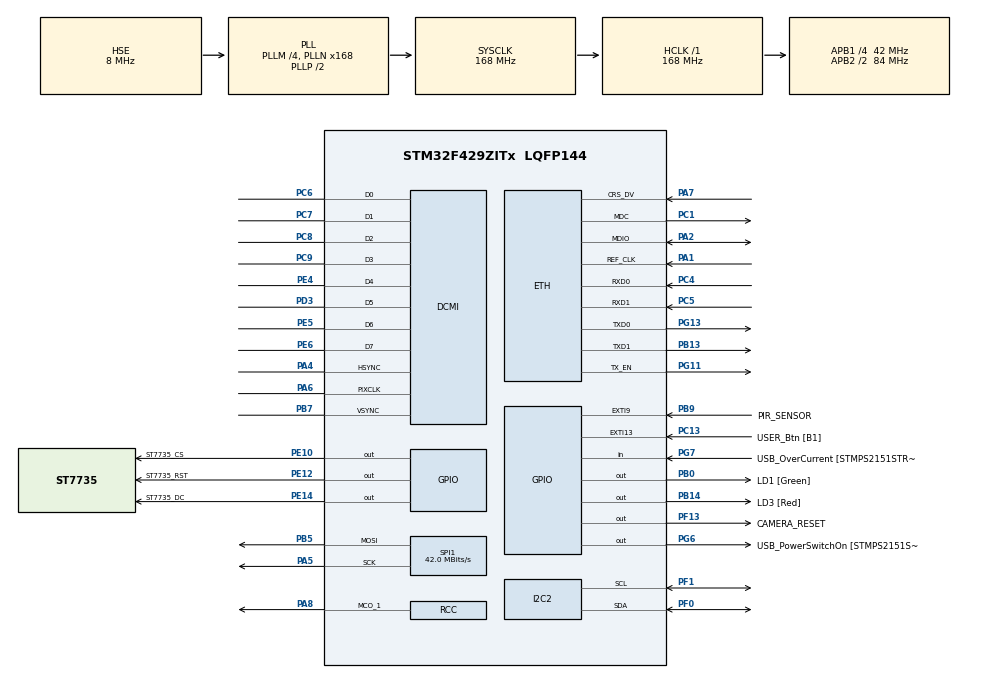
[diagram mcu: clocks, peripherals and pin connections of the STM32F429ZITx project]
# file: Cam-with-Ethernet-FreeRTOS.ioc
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DCMI.JPEGMode=DCMI_JPEG_DISABLE
DCMI.PCKPolarity=DCMI_PCKPOLARITY_RISING
DCMI.VSPolarity=DCMI_VSPOLARITY_HIGH
Dma.DCMI.0.Direction=DMA_PERIPH_TO_MEMORY
Dma.DCMI.0.FIFOMode=DMA_FIFOMODE_DISABLE
Dma.DCMI.0.Instance=DMA2_Stream1
Dma.DCMI.0.MemDataAlignment=DMA_MDATAALIGN_WORD
Dma.DCMI.0.MemInc=DMA_MINC_ENABLE
Dma.DCMI.0.Mode=DMA_NORMAL
Dma.DCMI.0.PeriphDataAlignment=DMA_PDATAALIGN_WORD
Dma.DCMI.0.PeriphInc=DMA_PINC_DISABLE
Dma.DCMI.0.Priority=DMA_PRIORITY_LOW
Dma.Request0=DCMI
ETH.MediaInterface=ETH_MEDIA_INTERFACE_RMII
ETH.PhyAddress=0
FREERTOS.BinarySemaphores01=bCameraSemaphore,Static,bCameraSemaphoreControlBlock;bEthSemaphore,Static,bEthSemaphoreControlBlock;bDisplaySemaphore,Static,bDisplaySemaphoreControlBlock
FREERTOS.MEMORY_ALLOCATION=2
FREERTOS.Tasks01=defaultTask,0,512,StartDefaultTask,Default,NULL,Static,defaultTaskBuffer,defaultTaskControlBlock;camTask,-2,512,StartCamTask,Default,NULL,Static,camTaskBuffer,camTaskControlBlock;displayTask,-2,512,StartDisplayTask,Default,NULL,Static,displayTaskBuffer,displayTaskControlBlock
FREERTOS.configMINIMAL_STACK_SIZE=512
FREERTOS.configTOTAL_HEAP_SIZE=60000
LWIP.GATEWAY_ADDRESS=192.168.000.001
LWIP.IP_ADDRESS=192.168.000.191
LWIP.LWIP_DHCP=0
LWIP.NETMASK_ADDRESS=255.255.255.000
LWIP.Version=v2.1.2_Cube
Mcu.Family=STM32F4
Mcu.Name=STM32F429ZITx
Mcu.Package=LQFP144
NVIC.DCMI_IRQn=true\:15\:0\:true\:false\:true\:false\:true\:true
NVIC.DMA2_Stream1_IRQn=true\:15\:0\:true\:false\:true\:false\:false\:true
NVIC.ETH_IRQn=true\:15\:0\:true\:false\:true\:false\:false\:true
NVIC.EXTI15_10_IRQn=true\:15\:0\:true\:false\:true\:false\:true\:true
NVIC.EXTI9_5_IRQn=true\:15\:0\:true\:false\:true\:false\:true\:true
NVIC.PriorityGroup=NVIC_PRIORITYGROUP_4
NVIC.TIM6_DAC_IRQn=true\:0\:0\:false\:false\:true\:false\:false\:true
NVIC.TimeBase=TIM6_DAC_IRQn
NVIC.TimeBaseIP=TIM6
PA0/WKUP.Mode=SYS_WakeUp0
PA0/WKUP.Signal=SYS_WKUP
PA1.Mode=RMII
PA1.Signal=ETH_REF_CLK
PA13.Mode=Serial_Wire
PA13.Signal=SYS_JTMS-SWDIO
PA14.Mode=Serial_Wire
PA14.Signal=SYS_JTCK-SWCLK
PA2.Mode=RMII
PA2.Signal=ETH_MDIO
PA4.GPIO_PuPd=GPIO_PULLDOWN
PA4.GPIO_Speed=GPIO_SPEED_FREQ_VERY_HIGH
PA4.Mode=Slave_8_bits_External_Synchro
PA4.Signal=DCMI_HSYNC
PA5.Mode=TX_Only_Simplex_Unidirect_Master
PA5.Signal=SPI1_SCK
PA6.GPIO_PuPd=GPIO_PULLDOWN
PA6.GPIO_Speed=GPIO_SPEED_FREQ_VERY_HIGH
PA6.Mode=Slave_8_bits_External_Synchro
PA6.Signal=DCMI_PIXCLK
PA7.Mode=RMII
PA7.Signal=ETH_CRS_DV
PA8.GPIO_Speed=GPIO_SPEED_FREQ_VERY_HIGH
PA8.Mode=Clock-out-1
PA8.Signal=RCC_MCO_1
PB0.GPIO_Label=LD1 [Green]
PB0.Signal=GPIO_Output
PB13.Mode=RMII
PB13.Signal=ETH_TXD1
PB14.GPIO_Label=LD3 [Red]
PB14.Signal=GPIO_Output
PB5.Mode=TX_Only_Simplex_Unidirect_Master
PB5.Signal=SPI1_MOSI
PB7.GPIO_PuPd=GPIO_PULLDOWN
PB7.GPIO_Speed=GPIO_SPEED_FREQ_VERY_HIGH
PB7.Mode=Slave_8_bits_External_Synchro
PB7.Signal=DCMI_VSYNC
PB9.GPIO_Label=PIR_SENSOR
PB9.Signal=GPXTI9
PC1.Mode=RMII
PC1.Signal=ETH_MDC
PC13.GPIO_Label=USER_Btn [B1]
PC13.Signal=GPXTI13
PC14/OSC32_IN.Mode=LSE-External-Clock-Source
PC14/OSC32_IN.Signal=RCC_OSC32_IN
PC15/OSC32_OUT.Mode=LSE-External-Clock-Source
PC15/OSC32_OUT.Signal=RCC_OSC32_OUT
PC4.Mode=RMII
PC4.Signal=ETH_RXD0
PC5.Mode=RMII
PC5.Signal=ETH_RXD1
PC6.GPIO_PuPd=GPIO_PULLDOWN
PC6.GPIO_Speed=GPIO_SPEED_FREQ_VERY_HIGH
PC6.Mode=Slave_8_bits_External_Synchro
PC6.Signal=DCMI_D0
PC7.GPIO_PuPd=GPIO_PULLDOWN
PC7.GPIO_Speed=GPIO_SPEED_FREQ_VERY_HIGH
PC7.Mode=Slave_8_bits_External_Synchro
PC7.Signal=DCMI_D1
PC8.GPIO_PuPd=GPIO_PULLDOWN
PC8.GPIO_Speed=GPIO_SPEED_FREQ_VERY_HIGH
PC8.Mode=Slave_8_bits_External_Synchro
PC8.Signal=DCMI_D2
PC9.GPIO_PuPd=GPIO_PULLDOWN
PC9.GPIO_Speed=GPIO_SPEED_FREQ_VERY_HIGH
PC9.Mode=Slave_8_bits_External_Synchro
PC9.Signal=DCMI_D3
PD3.GPIO_PuPd=GPIO_PULLDOWN
PD3.GPIO_Speed=GPIO_SPEED_FREQ_VERY_HIGH
PD3.Mode=Slave_8_bits_External_Synchro
PD3.Signal=DCMI_D5
PD8.Signal=USART3_TX
PD9.Signal=USART3_RX
PE10.GPIO_Label=ST7735_CS
PE10.Signal=GPIO_Output
PE12.GPIO_Label=ST7735_RST
PE12.Signal=GPIO_Output
PE14.GPIO_Label=ST7735_DC
PE14.Signal=GPIO_Output
PE4.GPIO_PuPd=GPIO_PULLDOWN
PE4.GPIO_Speed=GPIO_SPEED_FREQ_VERY_HIGH
PE4.Mode=Slave_8_bits_External_Synchro
PE4.Signal=DCMI_D4
PE5.GPIO_PuPd=GPIO_PULLDOWN
PE5.GPIO_Speed=GPIO_SPEED_FREQ_VERY_HIGH
PE5.Mode=Slave_8_bits_External_Synchro
PE5.Signal=DCMI_D6
PE6.GPIO_PuPd=GPIO_PULLDOWN
PE6.GPIO_Speed=GPIO_SPEED_FREQ_VERY_HIGH
PE6.Mode=Slave_8_bits_External_Synchro
PE6.Signal=DCMI_D7
PF0.Mode=I2C
PF0.Signal=I2C2_SDA
PF1.Mode=I2C
PF1.Signal=I2C2_SCL
PF13.GPIO_Label=CAMERA_RESET
PF13.Signal=GPIO_Output
PG11.Mode=RMII
PG11.Signal=ETH_TX_EN
PG13.Mode=RMII
PG13.Signal=ETH_TXD0
PG6.GPIO_Label=USB_PowerSwitchOn [STMPS2151STR_EN]
PG6.Signal=GPIO_Output
PG7.GPIO_Label=USB_OverCurrent [STMPS2151STR_FAULT]
PG7.Signal=GPIO_Input
PH0/OSC_IN.GPIO_Label=MCO [STM32F103CBT6_PA8]
PH0/OSC_IN.Mode=HSE-External-Oscillator
PH0/OSC_IN.Signal=RCC_OSC_IN
PH1/OSC_OUT.Mode=HSE-External-Oscillator
PH1/OSC_OUT.Signal=RCC_OSC_OUT
ProjectManager.HeapSize=0x2000
ProjectManager.StackSize=0x2000
ProjectManager.TargetToolchain=STM32CubeIDE
RCC.48MHZClocksFreq_Value=84000000
RCC.AHBFreq_Value=168000000
RCC.APB1CLKDivider=RCC_HCLK_DIV4
RCC.APB1Freq_Value=42000000
RCC.APB1TimFreq_Value=84000000
RCC.APB2CLKDivider=RCC_HCLK_DIV2
RCC.APB2Freq_Value=84000000
RCC.APB2TimFreq_Value=168000000
RCC.CortexFreq_Value=168000000
RCC.HCLKFreq_Value=168000000
RCC.HSE_VALUE=8000000
RCC.HSI_VALUE=16000000
RCC.LSE_VALUE=32768
RCC.PLLM=4
RCC.PLLMUL=RCC_PLL_MUL9
RCC.PLLN=168
RCC.PLLSourceVirtual=RCC_PLLSOURCE_HSE
RCC.PRESCALERUSB=RCC_USBCLKSOURCE_PLL_DIV1_5
RCC.SYSCLKFreq_VALUE=168000000
RCC.SYSCLKSource=RCC_SYSCLKSOURCE_PLLCLK
RCC.SYSCLKSourceVirtual=RCC_SYSCLKSOURCE_PLLCLK
RCC.USBFreq_Value=48000000
RCC.VCOOutputFreq_Value=336000000
SPI1.CalculateBaudRate=42.0 MBits/s
SPI1.Direction=SPI_DIRECTION_2LINES
SPI1.Mode=SPI_MODE_MASTER
SPI1.VirtualType=VM_MASTER
VP_FREERTOS_VS_CMSIS_V1.Mode=CMSIS_V1
VP_LWIP_VS_Enabled.Mode=Enabled
VP_SYS_VS_tim6.Mode=TIM6
board=NUCLEO-F429ZI

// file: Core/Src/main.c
/* USER CODE BEGIN Header */
/**
  ******************************************************************************
  * @file           : main.c
  * @brief          : Main program body
  ******************************************************************************
  * @attention
  *
  * <h2><center>&copy; Copyright (c) 2020 STMicroelectronics.
  * All rights reserved.</center></h2>
  *
  * This software component is licensed by ST under Ultimate Liberty license
  * SLA0044, the "License"; You may not use this file except in compliance with
  * the License. You may obtain a copy of the License at:
  *                             www.st.com/SLA0044
  *
  ******************************************************************************
  */
/* USER CODE END Header */
#include "main.h"
#include "cmsis_os.h"
#include "dcmi.h"
#include "dma.h"
#include "i2c.h"
#include "lwip.h"
#include "spi.h"
#include "gpio.h"

/* USER CODE BEGIN Includes */
#include "camera.h"
#include "ST7735.h"
#include "stdio.h"
/* USER CODE END Includes */

/* USER CODE BEGIN PD */
/*
#define PICTURE_SIZE CAM_VGA_WIDTH * CAM_VGA_HEIGHT * 2
We send PICTURE_DIVIDER pieces of picture in order to minimize buffer size
 Every piece is a cropped original picture
#define PICTURE_DIVIDER 10
#define BUFFER_SIZE  PICTURE_SIZE/PICTURE_DIVIDER
*/
/* USER CODE END PD */

/* USER CODE BEGIN PV */
//extern uint8_t CAM_Frame_Buffer[BUFFER_SIZE];

/* USER CODE END PV */

void SystemClock_Config(void);
void MX_FREERTOS_Init(void);

/* USER CODE BEGIN 0 */
int _write(int file, char *ptr, int len)
{
   //Implement your write code here, this is used by puts and printf for example
  int i=0;
  for(i=0 ; i<len ; i++)
    ITM_SendChar((*ptr++));
  return len;
}
/* USER CODE END 0 */

int main(void)
{

  /* MCU Configuration--------------------------------------------------------*/

  /* Reset of all peripherals, Initializes the Flash interface and the Systick. */
  HAL_Init();

  /* Configure the system clock */
  SystemClock_Config();

  /* Initialize all configured peripherals */
  MX_GPIO_Init();
  MX_DMA_Init();
  MX_DCMI_Init();
  MX_I2C2_Init();
  MX_SPI1_Init();
  /* USER CODE BEGIN 2 */
  HAL_NVIC_DisableIRQ(PIR_SENSOR_EXTI_IRQn);
  ST7735_Init();
  camera_init();
  camera_config(CAMERA_MODE_QVGA_RGB565);
  ST7735_FillScreen(ST7735_CYAN);

/*  for (uint32_t i = 0; i < BUFFER_SIZE; i++)
  {
	  CAM_Frame_Buffer[i] = i % 255;
  }*/
  /* USER CODE END 2 */

  /* Call init function for freertos objects (in freertos.c) */
  MX_FREERTOS_Init();
  /* Start scheduler */
  osKernelStart();

  /* We should never get here as control is now taken by the scheduler */
  /* Infinite loop */
  /* USER CODE BEGIN WHILE */
//  uint16_t crop_start_line = 0;
  while (1)
  {
/*	  for (uint8_t i = 0; i < PICTURE_DIVIDER; i++)
	  		{

	  			crop_start_line = i * CAM_VGA_HEIGHT / PICTURE_DIVIDER;
//	  			camera_startCap(CAMERA_CAP_SINGLE_FRAME, (void*) CAM_Frame_Buffer);
	  			camera_startCapCropped(CAMERA_CAP_SINGLE_FRAME,
	  					(void*) CAM_Frame_Buffer, crop_start_line,
	  					CAM_VGA_HEIGHT / PICTURE_DIVIDER);
	  			HAL_Delay(100);
	  		}
	  		camera_stopCap();*/
    /* USER CODE END WHILE */

  }
}

void SystemClock_Config(void)
{
  RCC_OscInitTypeDef RCC_OscInitStruct = {0};
  RCC_ClkInitTypeDef RCC_ClkInitStruct = {0};

  /** Configure the main internal regulator output voltage
  */
  __HAL_RCC_PWR_CLK_ENABLE();
  __HAL_PWR_VOLTAGESCALING_CONFIG(PWR_REGULATOR_VOLTAGE_SCALE1);
  /** Initializes the RCC Oscillators according to the specified parameters
  * in the RCC_OscInitTypeDef structure.
  */
  RCC_OscInitStruct.OscillatorType = RCC_OSCILLATORTYPE_HSI|RCC_OSCILLATORTYPE_HSE;
  RCC_OscInitStruct.HSEState = RCC_HSE_ON;
  RCC_OscInitStruct.HSIState = RCC_HSI_ON;
  RCC_OscInitStruct.HSICalibrationValue = RCC_HSICALIBRATION_DEFAULT;
  RCC_OscInitStruct.PLL.PLLState = RCC_PLL_ON;
  RCC_OscInitStruct.PLL.PLLSource = RCC_PLLSOURCE_HSE;
  RCC_OscInitStruct.PLL.PLLM = 4;
  RCC_OscInitStruct.PLL.PLLN = 168;
  RCC_OscInitStruct.PLL.PLLP = RCC_PLLP_DIV2;
  RCC_OscInitStruct.PLL.PLLQ = 4;
  if (HAL_RCC_OscConfig(&RCC_OscInitStruct) != HAL_OK)
  {
    Error_Handler();
  }
  /** Initializes the CPU, AHB and APB buses clocks
  */
  RCC_ClkInitStruct.ClockType = RCC_CLOCKTYPE_HCLK|RCC_CLOCKTYPE_SYSCLK
                              |RCC_CLOCKTYPE_PCLK1|RCC_CLOCKTYPE_PCLK2;
  RCC_ClkInitStruct.SYSCLKSource = RCC_SYSCLKSOURCE_PLLCLK;
  RCC_ClkInitStruct.AHBCLKDivider = RCC_SYSCLK_DIV1;
  RCC_ClkInitStruct.APB1CLKDivider = RCC_HCLK_DIV4;
  RCC_ClkInitStruct.APB2CLKDivider = RCC_HCLK_DIV2;

  if (HAL_RCC_ClockConfig(&RCC_ClkInitStruct, FLASH_LATENCY_5) != HAL_OK)
  {
    Error_Handler();
  }
  HAL_RCC_MCOConfig(RCC_MCO1, RCC_MCO1SOURCE_HSI, RCC_MCODIV_1);
}

void HAL_TIM_PeriodElapsedCallback(TIM_HandleTypeDef *htim)
{
  if (htim->Instance == TIM6) {
    HAL_IncTick();
  }
}

void Error_Handler(void)
{
}

/************************ (C) COPYRIGHT STMicroelectronics *****END OF FILE****/

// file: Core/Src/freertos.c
/* USER CODE BEGIN Header */
/**
 ******************************************************************************
 * File Name          : freertos.c
 * Description        : Code for freertos applications
 ******************************************************************************
 * @attention
 *
 * <h2><center>&copy; Copyright (c) 2020 STMicroelectronics.
 * All rights reserved.</center></h2>
 *
 * This software component is licensed by ST under Ultimate Liberty license
 * SLA0044, the "License"; You may not use this file except in compliance with
 * the License. You may obtain a copy of the License at:
 *                             www.st.com/SLA0044
 *
 ******************************************************************************
 */
/* USER CODE END Header */

#include "FreeRTOS.h"
#include "task.h"
#include "main.h"
#include "cmsis_os.h"

/* USER CODE BEGIN Includes */
#include "semphr.h"
#include "camera.h"
#include "st7735.h"
#include "stdio.h"
#include "lwip/opt.h"
#include "lwip/arch.h"
#include "lwip/api.h"
/* USER CODE END Includes */

/* USER CODE BEGIN PD */
#define WAITING_FOR_CONNECTION  0x00
#define WAITING_FOR_MOVEMENT 	0x01
#define PICTURE_IS_BEING_SENT 	0x02
#define PICTURE_IS_SENT 		0x03
#define CONNECTION_IS_DONE      0x04

#define PICTURE_SIZE CAM_VGA_WIDTH * CAM_VGA_HEIGHT * 2
/*We send PICTURE_DIVIDER pieces of picture in order to minimize buffer size
 Every piece is a cropped original picture*/
#define PICTURE_DIVIDER 1
#define BUFFER_SIZE  PICTURE_SIZE/PICTURE_DIVIDER
/* USER CODE END PD */

/* USER CODE BEGIN PM */
#define __HAL_GPIO_EXTI_MASK_IT(__EXTI_LINE__) (EXTI->IMR = (EXTI->IMR) & (~(__EXTI_LINE__)))
#define __HAL_GPIO_EXTI_UNMASK_IT(__EXTI_LINE__) (EXTI->IMR = (EXTI->IMR) | (__EXTI_LINE__))
/* USER CODE END PM */

/* USER CODE BEGIN Variables */
uint8_t CAM_Frame_Buffer[BUFFER_SIZE] =
{ 0 };

volatile uint8_t displayState = 0;

osSemaphoreId bDCMIComplitedSemaphoreHandle;

extern DCMI_HandleTypeDef hdcmi;
/* USER CODE END Variables */
osThreadId defaultTaskHandle;
uint32_t defaultTaskBuffer[ 512 ];
osStaticThreadDef_t defaultTaskControlBlock;
osThreadId camTaskHandle;
uint32_t camTaskBuffer[ 512 ];
osStaticThreadDef_t camTaskControlBlock;
osThreadId displayTaskHandle;
uint32_t displayTaskBuffer[ 512 ];
osStaticThreadDef_t displayTaskControlBlock;
osSemaphoreId bCameraSemaphoreHandle;
osStaticSemaphoreDef_t bCameraSemaphoreControlBlock;
osSemaphoreId bEthSemaphoreHandle;
osStaticSemaphoreDef_t bEthSemaphoreControlBlock;
osSemaphoreId bDisplaySemaphoreHandle;
osStaticSemaphoreDef_t bDisplaySemaphoreControlBlock;

/* USER CODE BEGIN FunctionPrototypes */
static void tcp_thread(void *arg);

void tcpecho_init(void);
void USER_DCMI_IRQHandler(DCMI_HandleTypeDef* phdcmi);
/* USER CODE END FunctionPrototypes */

void StartDefaultTask(void const * argument);
void StartCamTask(void const * argument);
void StartDisplayTask(void const * argument);

extern void MX_LWIP_Init(void);
void MX_FREERTOS_Init(void); /* (MISRA C 2004 rule 8.1) */

/* GetIdleTaskMemory prototype (linked to static allocation support) */
void vApplicationGetIdleTaskMemory( StaticTask_t **ppxIdleTaskTCBBuffer, StackType_t **ppxIdleTaskStackBuffer, uint32_t *pulIdleTaskStackSize );

/* USER CODE BEGIN GET_IDLE_TASK_MEMORY */
static StaticTask_t xIdleTaskTCBBuffer;
static StackType_t xIdleStack[configMINIMAL_STACK_SIZE];

void vApplicationGetIdleTaskMemory(StaticTask_t **ppxIdleTaskTCBBuffer,
		StackType_t **ppxIdleTaskStackBuffer, uint32_t *pulIdleTaskStackSize)
{
	*ppxIdleTaskTCBBuffer = &xIdleTaskTCBBuffer;
	*ppxIdleTaskStackBuffer = &xIdleStack[0];
	*pulIdleTaskStackSize = configMINIMAL_STACK_SIZE;
	/* place for user code */
}
/* USER CODE END GET_IDLE_TASK_MEMORY */

void MX_FREERTOS_Init(void) {

  /* Create the semaphores(s) */
  /* definition and creation of bCameraSemaphore */
  osSemaphoreStaticDef(bCameraSemaphore, &bCameraSemaphoreControlBlock);
  bCameraSemaphoreHandle = osSemaphoreCreate(osSemaphore(bCameraSemaphore), 1);

  /* definition and creation of bEthSemaphore */
  osSemaphoreStaticDef(bEthSemaphore, &bEthSemaphoreControlBlock);
  bEthSemaphoreHandle = osSemaphoreCreate(osSemaphore(bEthSemaphore), 1);

  /* definition and creation of bDisplaySemaphore */
  osSemaphoreStaticDef(bDisplaySemaphore, &bDisplaySemaphoreControlBlock);
  bDisplaySemaphoreHandle = osSemaphoreCreate(osSemaphore(bDisplaySemaphore), 1);

  /* USER CODE BEGIN RTOS_SEMAPHORES */
  osSemaphoreDef(bDCMIComplitedSemaphore);
  bDCMIComplitedSemaphoreHandle = osSemaphoreCreate(osSemaphore(bDCMIComplitedSemaphore), 1);
  /* USER CODE END RTOS_SEMAPHORES */

  /* Create the thread(s) */
  /* definition and creation of defaultTask */
  osThreadStaticDef(defaultTask, StartDefaultTask, osPriorityNormal, 0, 512, defaultTaskBuffer, &defaultTaskControlBlock);
  defaultTaskHandle = osThreadCreate(osThread(defaultTask), NULL);

  /* definition and creation of camTask */
  osThreadStaticDef(camTask, StartCamTask, osPriorityLow, 0, 512, camTaskBuffer, &camTaskControlBlock);
  camTaskHandle = osThreadCreate(osThread(camTask), NULL);

  /* definition and creation of displayTask */
  osThreadStaticDef(displayTask, StartDisplayTask, osPriorityLow, 0, 512, displayTaskBuffer, &displayTaskControlBlock);
  displayTaskHandle = osThreadCreate(osThread(displayTask), NULL);

}

void StartDefaultTask(void const * argument)
{
  /* init code for LWIP */
  MX_LWIP_Init();
  /* USER CODE BEGIN StartDefaultTask */

	__HAL_GPIO_EXTI_MASK_IT(USER_Btn_Pin);

	osSemaphoreWait(bEthSemaphoreHandle, 10);
	osSemaphoreWait(bCameraSemaphoreHandle, 10);

	displayState = WAITING_FOR_CONNECTION;
	osSemaphoreRelease(bDisplaySemaphoreHandle);

	tcpecho_init();
	osThreadSetPriority(NULL, osPriorityIdle);

	/* Infinite loop */
	for (;;)
	{
		osDelay(1000);
	}
  /* USER CODE END StartDefaultTask */
}

void StartCamTask(void const * argument)
{
  /* USER CODE BEGIN StartCamTask */
	uint16_t crop_start_line = 0;
	/* Infinite loop */
	for (;;)
	{

		for (uint8_t i = 0; i < PICTURE_DIVIDER; i++)
		{
			osSemaphoreWait(bCameraSemaphoreHandle, osWaitForever);
			crop_start_line = i * CAM_VGA_HEIGHT / PICTURE_DIVIDER;
			camera_startCapCropped(CAMERA_CAP_SINGLE_FRAME,
					(void*) CAM_Frame_Buffer, crop_start_line,
					CAM_VGA_HEIGHT / PICTURE_DIVIDER);
//			osDelay(200);
			printf("I`m waiting for DCMI semaphore!\n\r");
			osSemaphoreWait(bDCMIComplitedSemaphoreHandle, osWaitForever);
//			osSemaphoreWait(bCameraSemaphoreHandle, osWaitForever);
			osSemaphoreRelease(bEthSemaphoreHandle);
		}
	}
  /* USER CODE END StartCamTask */
}

void StartDisplayTask(void const * argument)
{
  /* USER CODE BEGIN StartDisplayTask */
	/* Infinite loop */
	for (;;)
	{
		osSemaphoreWait(bDisplaySemaphoreHandle, osWaitForever);

		printf("I'm in Display Task after semaphore!\n\r");

		ST7735_FillScreen(ST7735_BLACK);
		switch (displayState)
		{
		case WAITING_FOR_CONNECTION:
			ST7735_WriteString(ST7735_WIDTH / 10 * 1, ST7735_HEIGHT / 10 * 2,
					"WAITING FOR\n CONNECTION!", Font_11x18,
					ST7735_WHITE, ST7735_BLACK);
			break;
		case WAITING_FOR_MOVEMENT:
			ST7735_WriteString(ST7735_WIDTH / 10 * 1, ST7735_HEIGHT / 10 * 2,
					"MOVEMENT\nWEREN'T DETECTED!", Font_11x18,
					ST7735_WHITE, ST7735_BLACK);
			break;

		case PICTURE_IS_BEING_SENT:
			ST7735_WriteString(ST7735_WIDTH / 10 * 1, ST7735_HEIGHT / 10 * 2,
					"WAIT,\nTHE PICTURE IS BEING SENT!", Font_11x18,
					ST7735_WHITE, ST7735_BLACK);
			break;

		case PICTURE_IS_SENT:
			ST7735_WriteString(ST7735_WIDTH / 10 * 1, ST7735_HEIGHT / 10 * 2,
					"THE PICTURE HAS BEEN SENT!", Font_11x18,
					ST7735_WHITE, ST7735_BLACK);
			break;
		case CONNECTION_IS_DONE:
			ST7735_WriteString(ST7735_WIDTH / 10 * 1, ST7735_HEIGHT / 10 * 2,
					"CONNECTION\n IS DONE", Font_11x18,
					ST7735_WHITE, ST7735_BLACK);
			break;
		}
	}

  /* USER CODE END StartDisplayTask */
}

/* USER CODE BEGIN Application */

void tcpecho_init()
{
	sys_thread_new("tcp_thread", tcp_thread, NULL, DEFAULT_THREAD_STACKSIZE * 2,
	TCPIP_THREAD_PRIO);
}

static void tcp_thread(void *arg)
{
	err_t err, accept_err, recv_err;
	struct netconn *conn;
	struct netconn *newconn;
	struct netbuf *buf;

	/* Create a new connection identifier. */
	conn = netconn_new(NETCONN_TCP);
	if (conn != NULL)
	{
		/* Bind connection to well known port number 7. */
		err = netconn_bind(conn, NULL, 7);
		if (err == ERR_OK)
		{
			/* Tell connection to go into listening mode. */
			netconn_listen(conn);
			while (1)
			{
				/* Grab new connection. */
				accept_err = netconn_accept(conn, &newconn);
				displayState = CONNECTION_IS_DONE;
				osSemaphoreRelease(bDisplaySemaphoreHandle);
				/* Process the new connection. */
				if (accept_err == ERR_OK)
				{
					__HAL_GPIO_EXTI_UNMASK_IT(USER_Btn_Pin);
					while ((recv_err = netconn_recv(newconn, &buf)) == ERR_OK)
					{
						osSemaphoreWait(bEthSemaphoreHandle, osWaitForever);
						displayState = PICTURE_IS_BEING_SENT;
						osSemaphoreRelease(bDisplaySemaphoreHandle);
						for (uint8_t i = 0; i < PICTURE_DIVIDER - 1; i++)
						{
							netconn_write(newconn, CAM_Frame_Buffer,
									BUFFER_SIZE, NETCONN_COPY);
							osSemaphoreRelease(bCameraSemaphoreHandle);
							osSemaphoreWait(bEthSemaphoreHandle, osWaitForever);
						}

						netconn_write(newconn, CAM_Frame_Buffer, BUFFER_SIZE,
								NETCONN_COPY);
						netbuf_delete(buf);

						displayState = PICTURE_IS_SENT;
						osSemaphoreRelease(bDisplaySemaphoreHandle);
//						osSemaphoreRelease(bDCMIComplitedSemaphoreHandle);
						__HAL_GPIO_EXTI_UNMASK_IT(USER_Btn_Pin);
					}
					/* Close connection and discard connection identifier. */
					netconn_close(newconn);
					netconn_delete(newconn);
				}
			}
		}
		else
		{
			netconn_delete(newconn);
		}
	}
}

void HAL_GPIO_EXTI_Callback(uint16_t GPIO_Pin)
{
	UNUSED(GPIO_Pin);

	__HAL_GPIO_EXTI_MASK_IT(USER_Btn_Pin);
	if (GPIO_Pin == USER_Btn_Pin)
	{
		osSemaphoreRelease(bCameraSemaphoreHandle);
	}

}

void USER_DCMI_IRQHandler(DCMI_HandleTypeDef* phdcmi)
{
	if (phdcmi->Instance == hdcmi.Instance)
	{
		printf("I`m releasing DCMI semaphore!\n\r");
		camera_stopCap();
		osSemaphoreRelease(bDCMIComplitedSemaphoreHandle);
	}
}
/* USER CODE END Application */

/************************ (C) COPYRIGHT STMicroelectronics *****END OF FILE****/
